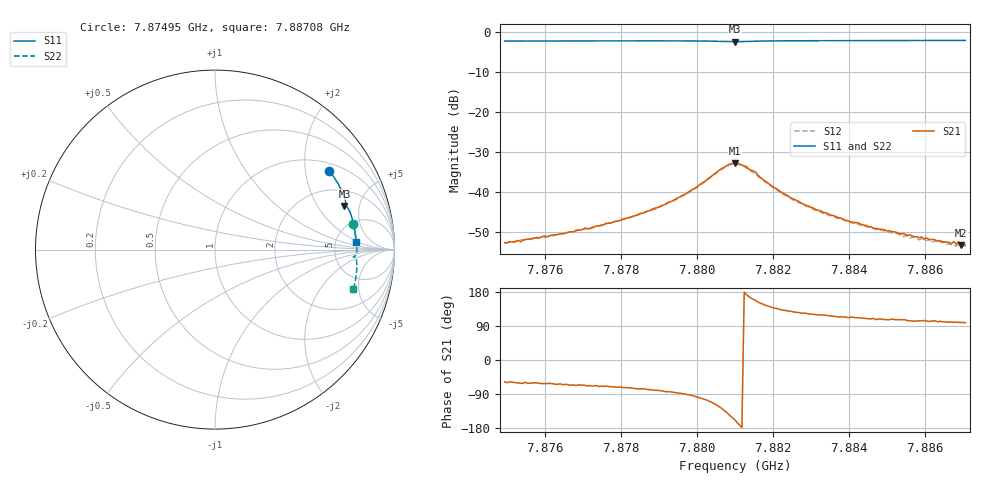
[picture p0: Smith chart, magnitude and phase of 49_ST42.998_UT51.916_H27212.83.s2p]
#  HZ  S  DB  R  50.00
! Rohde & Schwarz Vector Network Analyzer
! Rohde-Schwarz,ZNB20-2Port,1311601062101988,3.16
! Created: UTC 1/12/2023, 6:32:47 PM
! freq[Hz]  db:S11  ang:S11  db:S21  ang:S21  db:S12  ang:S12  db:S22  ang:S22
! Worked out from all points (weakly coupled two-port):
!   201 points, 7.87495 GHz to 7.88708 GHz, reference 50 ohm
!   highest |S21| = -32.70 dB at 7.88101 GHz (marker M1); lowest = -53.2 dB at 7.88695 GHz (marker M2)
!   lowest |S11| = -2.4 dB at 7.88101 GHz (marker M3), VSWR 7.37, Z = 154 + j178 ohm
!   |S11| at or under -10 dB: nowhere
!   |S22| runs from -2.2 to -1.9 dB; largest |S21 - S12| = 0.0018
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7.874945e9  -2.23 34.7  -52.54 -57.6  -52.63 -61.5  -2.14 10.7
7.875309e9  -2.22 33.7  -51.98 -60.3  -51.91 -61.4  -2.13 9.8
7.87537e9  -2.22 33.5  -52.34 -61.6  -51.83 -62.1  -2.12 9.6
7.876158e9  -2.20 31.4  -50.70 -62.1  -51.03 -65.0  -2.10 7.8
7.877007e9  -2.19 29.1  -49.22 -66.2  -49.22 -70.3  -2.08 5.8
7.87822e9  -2.18 25.7  -46.24 -72.8  -46.45 -77.1  -2.05 3.0
7.879009e9  -2.18 23.5  -43.69 -80.4  -43.67 -83.8  -2.05 1.1
7.879797e9  -2.19 21.3  -39.81 -91.9  -40.04 -95.8  -2.06 -0.9
7.880768e9  -2.34 18.8  -33.44 -136.2  -33.62 -139.6  -2.21 -3.1
7.88101e9  -2.37 18.6  -32.70 -158.2  -32.93 -162.4  -2.24 -3.0
7.881314e9  -2.32 18.5  -33.58 172.4  -33.93 169.4  -2.20 -2.9
7.882223e9  -2.16 16.1  -39.91 132.5  -40.07 129.9  -2.02 -4.9
7.883073e9  -2.13 13.8  -43.90 120.6  -44.20 117.0  -1.98 -6.9
7.884043e9  -2.11 11.1  -47.33 112.8  -47.40 108.4  -1.95 -9.1
7.885074e9  -2.09 8.4  -49.58 106.1  -50.01 104.2  -1.93 -11.5
7.886166e9  -2.08 5.5  -51.79 102.0  -52.44 98.6  -1.92 -13.8
7.886712e9  -2.08 4.1  -52.81 100.4  -53.08 96.8  -1.92 -15.0
7.886772e9  -2.08 3.9  -52.28 99.1  -53.27 97.6  -1.92 -15.1
7.886833e9  -2.08 3.8  -52.95 100.0  -53.38 96.1  -1.92 -15.2
7.886894e9  -2.07 3.6  -52.33 99.2  -53.15 97.2  -1.92 -15.4
7.886954e9  -2.07 3.5  -53.24 99.2  -53.32 95.9  -1.92 -15.5
7.887076e9  -2.07 3.1  -53.13 98.5  -53.42 96.2  -1.92 -15.8
